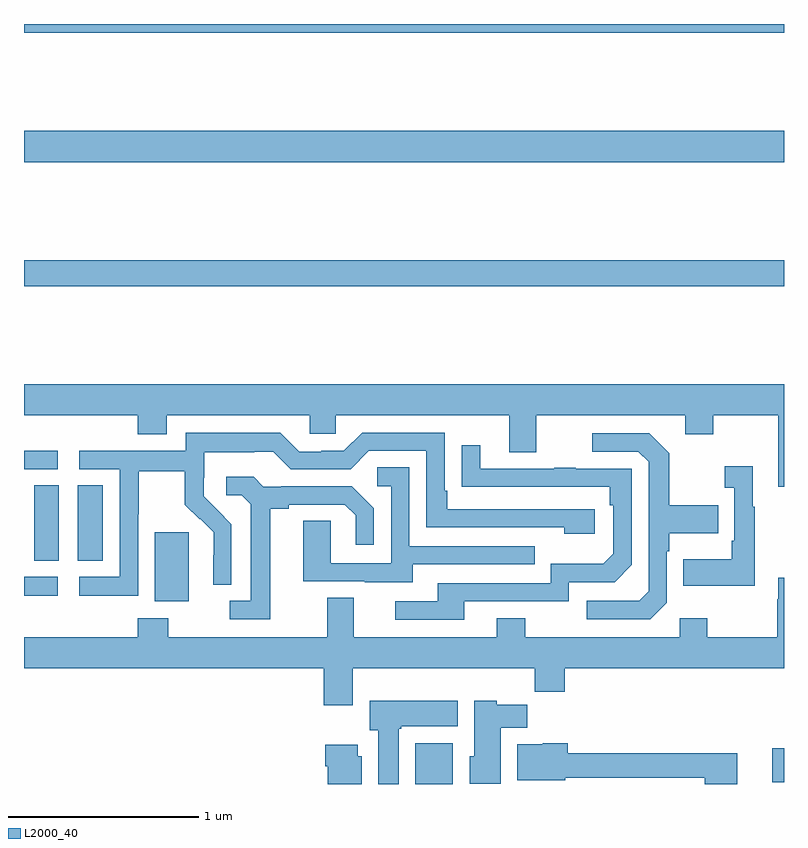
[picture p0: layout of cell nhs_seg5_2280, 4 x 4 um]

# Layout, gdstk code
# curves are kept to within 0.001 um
import gdstk
lib = gdstk.Library(unit=1e-6, precision=1e-09)
def R(c, l, rs):  # rectangles x0, y0, x1, y1
    for r in rs: c.add(gdstk.rectangle(r[:2], r[2:], *l))
def P(c, l, *ps):  # polygons
    for p in ps: c.add(gdstk.Polygon(p, *l))
L2000_40 = (2000, 40)

nhs_seg5_2280 = lib.new_cell('nhs_seg5_2280')
R(nhs_seg5_2280, L2000_40, [(245.06,874.799,245.257,875.014), (246.939,874.808,247,874.986), (243.689,875.762,243.868,876.123), (243,875.791,243.178,875.889), (243.053,875.974,243.184,876.371), (243.284,875.974,243.415,876.371), (243,876.456,243.178,876.552), (243,877.42,247,877.556), (243,878.072,247,878.236), (243,878.752,247,878.799)])
P(nhs_seg5_2280, L2000_40, [(247,876.904),(243,876.904),(243,876.74),(243.599,876.74),(243.599,876.641),(243.751,876.641),(243.751,876.74),(244.503,876.74),(244.503,876.642),(244.641,876.642),(244.641,876.74),(245.555,876.74),(245.555,876.546),(245.695,876.546),(245.695,876.74),(246.479,876.74),(246.479,876.641),(246.627,876.641),(246.627,876.74),(246.971,876.74),(246.971,876.363),(247,876.363)],
  [(243.6,876.22),(243.603,876.22),(243.603,876.444),(243.847,876.444),(243.847,876.269),(243.924,876.192),(243.927,876.195),(243.998,876.125),(243.998,876.002),(243.996,876.002),(243.996,875.848),(244.092,875.848),(244.092,876.166),(243.946,876.314),(243.946,876.411),(243.948,876.411),(243.948,876.545),(244.211,876.545),(244.211,876.549),(244.311,876.549),(244.404,876.456),(244.719,876.456),(244.815,876.552),(245.118,876.552),(245.118,876.15),(245.843,876.15),(245.843,876.116),(246.004,876.116),(246.004,876.246),(245.227,876.246),(245.227,876.343),(245.214,876.343),(245.214,876.648),(244.779,876.648),(244.683,876.552),(244.565,876.552),(244.565,876.549),(244.449,876.549),(244.349,876.649),(243.852,876.649),(243.852,876.552),(243.291,876.552),(243.291,876.456),(243.504,876.456),(243.504,875.889),(243.291,875.889),(243.291,875.791),(243.6,875.791)],
  [(246.384,875.754),(246.384,876.023),(246.397,876.023),(246.397,876.119),(246.653,876.119),(246.653,876.267),(246.397,876.267),(246.397,876.539),(246.291,876.645),(245.991,876.645),(245.991,876.549),(246.234,876.549),(246.288,876.495),(246.288,875.814),(246.237,875.763),(245.961,875.763),(245.961,875.667),(246.297,875.667)],
  [(245.317,875.76),(245.868,875.76),(245.868,875.862),(246.108,875.862),(246.198,875.952),(246.198,876.459),(245.903,876.459),(245.903,876.464),(245.791,876.464),(245.791,876.459),(245.401,876.459),(245.401,876.583),(245.305,876.583),(245.305,876.364),(246.082,876.363),(246.082,876.266),(246.102,876.266),(246.102,876.012),(246.049,875.959),(245.772,875.959),(245.772,875.856),(245.177,875.856),(245.177,875.76),(244.953,875.76),(244.953,875.664),(245.317,875.664)],
  [(246.847,876.259),(246.835,876.259),(246.835,876.472),(246.687,876.472),(246.687,876.359),(246.738,876.359),(246.738,876.079),(246.726,876.079),(246.726,875.983),(246.469,875.983),(246.469,875.843),(246.847,875.843)],
  [(245.047,875.955),(245.687,875.955),(245.687,876.051),(245.028,876.051),(245.028,876.467),(244.86,876.467),(244.86,876.366),(244.932,876.366),(244.932,875.961),(244.614,875.961),(244.614,876.185),(244.469,876.185),(244.469,875.865),(244.793,875.865),(244.793,875.861),(245.047,875.861)],
  [(244.297,876.248),(244.393,876.248),(244.393,876.27),(244.688,876.27),(244.745,876.213),(244.745,876.057),(244.842,876.057),(244.842,876.25),(244.726,876.366),(244.354,876.366),(244.354,876.363),(244.26,876.363),(244.208,876.415),(244.065,876.415),(244.065,876.318),(244.146,876.318),(244.193,876.271),(244.193,875.763),(244.083,875.763),(244.083,875.667),(244.297,875.667)],
  [(244.729,875.408),(245.689,875.408),(245.689,875.284),(245.846,875.284),(245.846,875.408),(247,875.408),(247,875.884),(246.971,875.884),(246.971,875.771),(246.964,875.771),(246.964,875.572),(246.597,875.572),(246.597,875.671),(246.45,875.671),(246.45,875.572),(245.637,875.572),(245.637,875.671),(245.489,875.671),(245.489,875.572),(244.735,875.572),(244.735,875.78),(244.595,875.78),(244.595,875.572),(243.759,875.572),(243.759,875.671),(243.599,875.671),(243.599,875.572),(243,875.572),(243,875.408),(244.577,875.408),(244.577,875.214),(244.729,875.214)],
  [(244.972,875.089),(244.986,875.089),(244.986,875.102),(245.284,875.102),(245.284,875.236),(244.82,875.236),(244.82,875.082),(244.865,875.082),(244.865,874.799),(244.972,874.799)],
  [(245.509,875.096),(245.648,875.096),(245.648,875.215),(245.487,875.215),(245.487,875.236),(245.369,875.236),(245.369,874.944),(245.345,874.944),(245.345,874.8),(245.509,874.8)],
  [(246.754,874.96),(245.861,874.96),(245.861,875.014),(245.73,875.014),(245.73,875.008),(245.597,875.008),(245.597,874.82),(245.848,874.82),(245.848,874.831),(246.584,874.831),(246.584,874.799),(246.754,874.799)],
  [(244.777,874.944),(244.756,874.944),(244.756,875.005),(244.586,875.005),(244.586,874.892),(244.598,874.892),(244.598,874.799),(244.777,874.799)])

lib.write_gds('nhs_seg5_2280.gds')
